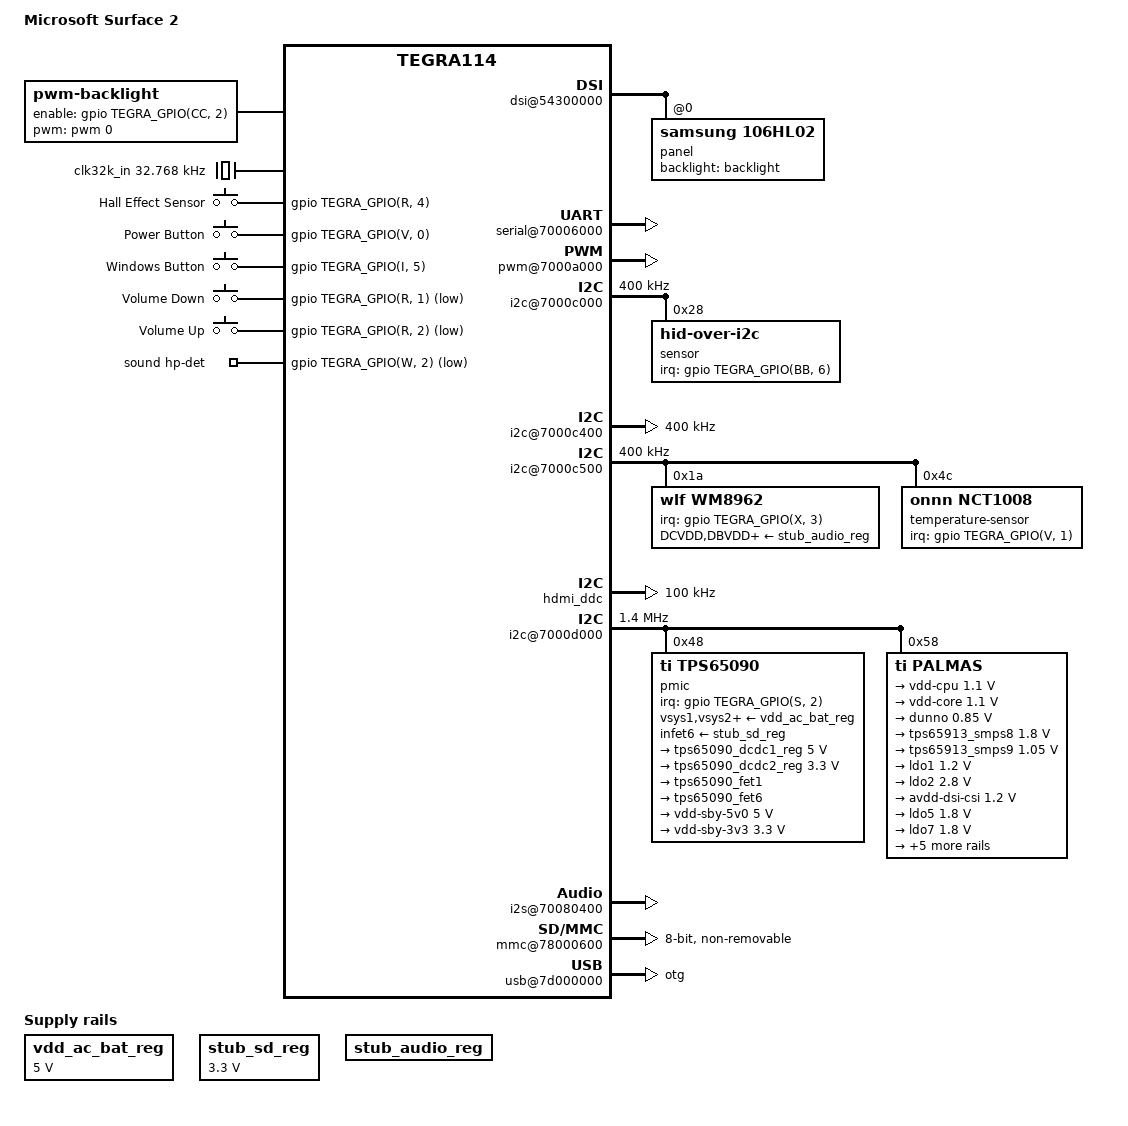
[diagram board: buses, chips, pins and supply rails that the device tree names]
// SPDX-License-Identifier: GPL-2.0

/dts-v1/;

#include "tegra114.dtsi"
#include <dt-bindings/input/input.h>

/ {
	model = "Microsoft Surface 2";
	compatible = "microsoft,surface-2", "nvidia,tegra114";

	aliases {
		mmc0 = &sdmmc4; /* eMMC */
		mmc1 = &sdmmc3; /* uSD slot */
		mmc2 = &sdmmc1; /* WiFi */

		rtc0 = &palmas;
		rtc1 = "/rtc@7000e000";

		serial0 = &uarta; /* console */
	};

	chosen {
		stdout-path = "serial0:115200n8";
	};

	host1x@50000000 {
		dsi@54300000 {
			status = "okay";

			//avdd-dsi-csi-supply = <&tps65913_ldo3>; // UEFI says no to this.

			panel@0 {
				compatible = "samsung,106hl02";
				reg = <0>;
				// FET4 doesn't control backlight but it is needed for the display to work??
				//power-supply = <&tps65090_fet4>; //tps65090_fet4
				backlight = <&backlight>;
				
				// Datasheet is not sure about reset pin and APX doesn't need it
				//reset-gpios = <&gpio TEGRA_GPIO(K, 5) GPIO_ACTIVE_HIGH>;
				// should make optional in driver
			};
		};
	};

	pinmux@70000868 {
		pinctrl-names = "default";
		pinctrl-0 = <&state_default>;

		state_default: pinmux {
			/* UART A RX ??? */
			sdmmc3_cmd_pa7 {
				nvidia,pins = "sdmmc3_cmd_pa7";
				nvidia,function = "uarta";
				nvidia,pull = <TEGRA_PIN_PULL_DOWN>;
				nvidia,tristate = <TEGRA_PIN_ENABLE>;
				nvidia,enable-input = <TEGRA_PIN_ENABLE>;
			};

			/* UART A TX */
			sdmmc3_dat1_pb6 {
				nvidia,pins = "sdmmc3_dat1_pb6";
				nvidia,function = "uarta";
				nvidia,pull = <TEGRA_PIN_PULL_NONE>;
				nvidia,tristate = <TEGRA_PIN_DISABLE>;
				nvidia,enable-input = <TEGRA_PIN_DISABLE>;
			};

			panel-backlight {
				nvidia,pins = "gmi_ad8_ph0";
				nvidia,function = "pwm0";
				nvidia,pull = <TEGRA_PIN_PULL_NONE>;
				nvidia,tristate = <TEGRA_PIN_DISABLE>;
				nvidia,enable-input = <TEGRA_PIN_DISABLE>;
			};
		};
	};

	serial@70006000 {
		status = "okay";
	};

	pwm@7000a000 {
		status = "okay";
	};

	i2c@7000c000 {
		status = "okay";
		clock-frequency = <400000>;

		/* Sensor Collection at 0x28 */
		sensor@28 {
			compatible = "hid-over-i2c";
			reg = <0x28>;
			hid-descr-addr = <0x0001>;
			interrupt-parent = <&gpio>;
			interrupts = <TEGRA_GPIO(BB, 6) IRQ_TYPE_LEVEL_LOW>;
		};
	};

	i2c@7000c400 {
		status = "okay";
		clock-frequency = <400000>;
	};

	i2c@7000c500 {
		status = "okay";
		clock-frequency = <400000>;

		wm8962: audio-codec@1a {
			compatible = "wlf,wm8962";
			reg = <0x1a>;
			interrupt-parent = <&gpio>;
			interrupts = <TEGRA_GPIO(X, 3) IRQ_TYPE_LEVEL_HIGH>;

			// stub reg to make dtbs_check happy
			DCVDD-supply = <&stub_audio_reg>;
			DBVDD-supply = <&stub_audio_reg>;
			AVDD-supply = <&stub_audio_reg>;
			CPVDD-supply = <&stub_audio_reg>;
			MICVDD-supply = <&stub_audio_reg>;
			PLLVDD-supply = <&stub_audio_reg>;
			SPKVDD1-supply = <&stub_audio_reg>;
			SPKVDD2-supply = <&stub_audio_reg>;
		};

		temperature-sensor@4c {
			compatible = "onnn,nct1008";
			reg = <0x4c>;
			interrupt-parent = <&gpio>;
			interrupts = <TEGRA_GPIO(V, 1) IRQ_TYPE_EDGE_FALLING>;
		};
	};

	hdmi_ddc: i2c@7000c700 {
		status = "okay";
		clock-frequency = <100000>;
	};

	i2c@7000d000 {
		status = "okay";
		clock-frequency = <1400000>;

		// Battery Charger, SMPS, LDOs, FETs
		pmic@48 {
			compatible = "ti,tps65090";
			reg = <0x48>;

			interrupt-parent = <&gpio>;
			interrupts = <TEGRA_GPIO(S, 2) IRQ_TYPE_LEVEL_HIGH>;

			vsys1-supply = <&vdd_ac_bat_reg>;
			vsys2-supply = <&vdd_ac_bat_reg>;
			vsys-l1-supply = <&vdd_ac_bat_reg>;
			vsys-l2-supply = <&vdd_ac_bat_reg>;
			
			infet6-supply = <&stub_sd_reg>;

			charger {
				compatible = "ti,tps65090-charger";
				ti,enable-low-current-chrg;
			};

			regulators {
				// DCDC Regulators should be always on.

				// UEFI has it disabled but external control is enabled
				// Fixed at 5V
				tps65090_dcdc1_reg: dcdc1 {
					regulator-name = "vdd-sys-5v0";
					regulator-min-microvolt = <5000000>;
					regulator-max-microvolt = <5000000>;
					ti,enable-ext-control;
				};

				// UEFI has it disabled but external control is enabled
				// Fixed at 3v3
				tps65090_dcdc2_reg: dcdc2 {
					regulator-name = "vdd-sys-3v3";
					regulator-min-microvolt = <3300000>;
					regulator-max-microvolt = <3300000>;
					ti,enable-ext-control;
				};

				// UEFI has it disabled but external control is enabled
				// variable voltage determined by external resistor				
				tps65090_dcdc3_reg: dcdc3 {
					ti,enable-ext-control;
				};

				// Connected to panel. Don't know how. Need few more tests
				// 1A / SystemVoltage
				tps65090_fet1: fet1 {
					regulator-name = "something-panel";
					regulator-always-on;
					regulator-boot-on;
				};

				// 200mA / 5V0
				// Enabled but not known
				// reverse-current protected for connections with external voltage: HDMI, USB
				tps65090_fet2: fet2 {
					regulator-always-on;
					regulator-boot-on;
				};

				// LDO3 modem on Dalmore. Maybe Surface 2 with modem?
				// 3A / 3v3

				// Connected to panel. Don't know how. Need few more tests
				// 1A / 3v3
				tps65090_fet4: fet4 {
					//regulator-name = "vdd-lcd";
					regulator-always-on;
					regulator-boot-on;
				};

				// No FET5 - crash boot - can't enable
				// UEFI says enable but PowerGood signal isn't present
				// Maybe missing input voltage?
				// 1A / 3v3

				// 1A / 3v3
				tps65090_fet6: fet6 {
					regulator-name = "vdd-sd-slot";
					regulator-always-on;
				};

				// FET7
				// 1A / 3v3

				// always on LDO; can be bypassed by DCDC1/2
				ldo1 {
					regulator-name = "vdd-sby-5v0";
					regulator-min-microvolt = <5000000>;
					regulator-max-microvolt = <5000000>;
					regulator-always-on;
					regulator-boot-on;
				};

				ldo2 {
					regulator-name = "vdd-sby-3v3";
					regulator-min-microvolt = <3300000>;
					regulator-max-microvolt = <3300000>;
					regulator-always-on;
					regulator-boot-on;
				};
			};
		};
		

		palmas: pmic@58 {
			compatible = "ti,palmas";
			reg = <0x58>;
			interrupts = <GIC_SPI 86 IRQ_TYPE_LEVEL_HIGH>;

			#interrupt-cells = <2>;
			interrupt-controller;

			ti,system-power-controller;
			ti,power-ctrl;

			palmas_gpio: gpio {
				compatible = "ti,palmas-gpio";
				gpio-controller;
				#gpio-cells = <2>;
			};

			palmas_clk32kgaudio@0 {
				compatible = "ti,palmas-clk32kgaudio";
				#clock-cells = <0>;
			};

			pmic {
				compatible = "ti,tps65913-pmic", "ti,palmas-pmic";

				ldo9-in-supply = <&stub_sd_reg>;

				ldousb-in-supply = <&stub_audio_reg>;

				regulators {
					smps123 {
						regulator-name = "vdd-cpu";
						regulator-min-microvolt = <1100000>;
						regulator-max-microvolt = <1100000>;
						regulator-always-on;
						regulator-boot-on;
						ti,roof-floor = <1>;
						ti,mode-sleep = <0>;
						regulator-ramp-delay = <2500>;
						ti,warm-reset;
					};

					smps457 {
						regulator-name = "vdd-core";
						regulator-min-microvolt = <1100000>;
						regulator-max-microvolt = <1100000>;
						regulator-always-on;
						regulator-boot-on;
						ti,roof-floor = <1>;
						ti,mode-sleep = <0>;
						regulator-ramp-delay = <5000>;
						ti,warm-reset;
					};

					// disabled in UEFI, could be used for something.
					smps6 {
						regulator-name = "dunno";
						regulator-min-microvolt = <850000>;
						regulator-max-microvolt = <850000>;
						ti,roof-floor = <1>;
						ti,mode-sleep = <0>;
						regulator-ramp-delay = <5000>;
						ti,warm-reset;
					};

					tps65913_smps8: smps8 {
						regulator-name = "vdd-1v8";
						regulator-min-microvolt = <1800000>;
						regulator-max-microvolt = <1800000>;
						regulator-always-on;
						regulator-boot-on;
						ti,roof-floor = <1>;
						ti,mode-sleep = <0>;
						regulator-ramp-delay = <5000>;
						ti,warm-reset;
					};

					tps65913_smps9: smps9 {
						regulator-name = "vdd-1v05";
						regulator-min-microvolt = <1050000>;
						regulator-max-microvolt = <1050000>;
						regulator-always-on;
						ti,warm-reset;
					};
					
					// No SMPS10 //
					
					ldo1 {
						regulator-min-microvolt = <1200000>;
						regulator-max-microvolt = <1200000>;
						regulator-always-on;
						regulator-boot-on;
					};
					
					ldo2 {
						regulator-min-microvolt = <2800000>;
						regulator-max-microvolt = <2800000>;
						regulator-always-on;
						regulator-boot-on;
					};
					
					ldo3 {
						regulator-name = "avdd-dsi-csi";
						regulator-min-microvolt = <1200000>;
						regulator-max-microvolt = <1200000>;
						regulator-always-on;
						regulator-boot-on;
					};

					// No LDO4 maybe 1.8V //
					
					ldo5 {
						regulator-min-microvolt = <1800000>;
						regulator-max-microvolt = <1800000>;
						regulator-always-on;
						regulator-boot-on;
					};
					
					// No LDO6 maybe 0.9V //
					
					ldo7 {
						regulator-min-microvolt = <1800000>;
						regulator-max-microvolt = <1800000>;
						regulator-always-on;
						regulator-boot-on;
					};
					
					ldo8 {
						regulator-name = "vdd-rtc";
						regulator-min-microvolt = <1200000>;
						regulator-max-microvolt = <1200000>;
						regulator-always-on;
						regulator-boot-on;
					};
					
					tps65913_ldo9: ldo9 {
						regulator-name = "vddio-sdmmc-2";
						regulator-min-microvolt = <1800000>;
						regulator-max-microvolt = <3300000>;
						regulator-always-on;
					};
					
					ldoln {
						regulator-min-microvolt = <1800000>;
						regulator-max-microvolt = <1800000>;
						regulator-always-on;
					};
					
					// reg 6A says this is connected to VBus. Not to sys
					ldousb {
						regulator-name = "avdd-usb";
						regulator-min-microvolt = <3300000>;
						regulator-max-microvolt = <3300000>;
						regulator-always-on;
						regulator-boot-on;
					};

					regen2 {
						regulator-max-microvolt = <5000000>;
						regulator-always-on;
						regulator-boot-on;
					};
					
					sysen1 {
						// enabled by UEFI. need to check again
					};
				};
			};

			rtc {
				compatible = "ti,palmas-rtc";
				interrupt-parent = <&palmas>;
				interrupts = <8 0>;
			};
		};
		
	};

	pmc@7000e400 {
		nvidia,invert-interrupt;
		nvidia,suspend-mode = <2>;
		nvidia,cpu-pwr-good-time = <300>;
		nvidia,cpu-pwr-off-time = <300>;
		nvidia,core-pwr-good-time = <641 3845>;
		nvidia,core-pwr-off-time = <2000>;
		nvidia,core-power-req-active-high;
		nvidia,sys-clock-req-active-high;

		/* Clear DEV_ON bit in DEV_CTRL register of TPS65913 PMIC  */
		i2c-thermtrip {
			nvidia,i2c-controller-id = <4>;
			nvidia,bus-addr = <0x58>;
			nvidia,reg-addr = <0xA0>;
			nvidia,reg-data = <0x00>;
		};
	};

	hda@70030000 {
		status = "okay";
	};

	ahub@70080000 {
		/* I2S1 -> audio-codec */
		i2s@70080400 {
			status = "okay";
		};
	};

	/* SD - SDMMC-3 */
	mmc@78000400 {
		status = "disabled"; // disable uart in UEFI stub
		bus-width = <4>;
		cd-gpios = <&gpio TEGRA_GPIO(V, 2) GPIO_ACTIVE_LOW>;
		// Need to recheck if SD works but UART is more important for now
		//vqmmc-supply = <&tps65913_ldo9>; // io voltage
		//vmmc-supply = <&tps65090_fet6>; // card power
	};

	/* eMMC - SDMMC-4 */
	mmc@78000600 {
		status = "okay";
		bus-width = <8>;
		non-removable;
	};

	usb@7d000000 {
		status = "okay";
		compatible = "nvidia,tegra114-udc";
		dr_mode = "otg";
	};

	usb-phy@7d000000 {
		status = "okay";
		/* TODO: vbus-supply */
		//vbus-supply = <&usb3_vbus_reg>;

	};

	backlight: backlight {
		compatible = "pwm-backlight";

		enable-gpios = <&gpio TEGRA_GPIO(CC, 2) GPIO_ACTIVE_HIGH>;
		//power-supply = <&tps65090_fet1>;
		pwms = <&pwm 0 100000>;

		brightness-levels = <1 255>;
		num-interpolated-steps = <254>;
		default-brightness-level = <128>;
	};

	clk32k_in: clock-32 {
		compatible = "fixed-clock";
		clock-frequency = <32768>;
		#clock-cells = <0>;
	};

	gpio-hall-sensor {
		compatible = "gpio-keys";

		label = "GPIO Hall Effect Sensor";

		hall-sensor {
			label = "Hall Effect Sensor";
			gpios = <&gpio TEGRA_GPIO(R, 4) GPIO_ACTIVE_HIGH>;
			linux,input-type = <EV_SW>;
			linux,code = <SW_LID>;
			linux,can-disable;
			wakeup-source;
		};
	};

	gpio-keys {
		compatible = "gpio-keys";

		label = "GPIO Buttons";

		power {
			label = "Power Button";
			gpios = <&gpio TEGRA_GPIO(V, 0) GPIO_ACTIVE_HIGH>;
			linux,code = <KEY_POWER>;
			debounce-interval = <10>;
			wakeup-source;
		};

		windows-button {
			label = "Windows Button";
			gpios = <&gpio TEGRA_GPIO(I, 5) GPIO_ACTIVE_HIGH>;
			linux,code = <KEY_LEFTMETA>;
			debounce-interval = <10>;
			wakeup-source;
		};

		volume-down {
			label = "Volume Down";
			gpios = <&gpio TEGRA_GPIO(R, 1) GPIO_ACTIVE_LOW>;
			linux,code = <KEY_VOLUMEDOWN>;
			debounce-interval = <10>;
		};

		volume-up {
			label = "Volume Up";
			gpios = <&gpio TEGRA_GPIO(R, 2) GPIO_ACTIVE_LOW>;
			linux,code = <KEY_VOLUMEUP>;
			debounce-interval = <10>;
		};
	};

	sound {
		compatible = "nvidia,tegra-audio-wm8962";
		nvidia,model = "NVIDIA Tegra Surface 2";

		nvidia,audio-routing =
			"Headphone Jack", "HPOUTR",
			"Headphone Jack", "HPOUTL",
			"Int Spk", "SPKOUTR",
			"Int Spk", "SPKOUTL";

		nvidia,i2s-controller = <&tegra_i2s1>;
		nvidia,audio-codec = <&wm8962>;

		nvidia,hp-det-gpios = <&gpio TEGRA_GPIO(W, 2) GPIO_ACTIVE_LOW>;

		clocks = <&tegra_car TEGRA114_CLK_PLL_A>,
			 <&tegra_car TEGRA114_CLK_PLL_A_OUT0>,
			 <&tegra_pmc TEGRA_PMC_CLK_OUT_1>;
		clock-names = "pll_a", "pll_a_out0", "mclk";

		assigned-clocks = <&tegra_car TEGRA114_CLK_EXTERN1>,
				  <&tegra_pmc TEGRA_PMC_CLK_OUT_1>;

		assigned-clock-parents = <&tegra_car TEGRA114_CLK_PLL_A_OUT0>,
					 <&tegra_car TEGRA114_CLK_EXTERN1>;
	};
	
	/* Regulators */
	vdd_ac_bat_reg: regulator-acbat {
		compatible = "regulator-fixed";
		regulator-name = "vdd_ac_bat";
		regulator-min-microvolt = <5000000>;
		regulator-max-microvolt = <5000000>;
		regulator-always-on;
	};
/*
	usb3_vbus_reg: regulator-usb3 {
		compatible = "regulator-fixed";
		regulator-name = "usb2_vbus";
		regulator-min-microvolt = <5000000>;
		regulator-max-microvolt = <5000000>;
		enable-active-high;
		gpio = <&gpio TEGRA_GPIO(K, 1) GPIO_ACTIVE_HIGH>;
		//regulator-enable-ramp-delay = <100000>; //offset of 0x4000 a 100ms
		//vin-supply = <&tps65090_dcdc1_reg>;
	};
*/
	stub_sd_reg: stub_sd {
		compatible = "regulator-fixed";
		regulator-name = "stub_sd";
		regulator-min-microvolt = <3300000>;
		regulator-max-microvolt = <3300000>;
	};

	stub_audio_reg: stub_audio {
		compatible = "regulator-fixed";
		regulator-name = "stub_audio";
	};

/*
	touchscreen_reg: touchscreen_vdd {
		compatible = "regulator-fixed";
		regulator-name = "touchscreen_vdd";
		enable-active-high;
		regulator-enable-ramp-delay = <70000>; // 70ms from ACPI
		gpio = <&gpio TEGRA_GPIO(K, 6) GPIO_ACTIVE_HIGH>;
		regulator-always-on;
	};
*/

/*
	what_ever_reg: what_ever {
		compatible = "regulator-fixed";
		regulator-name = "what";
		enable-active-high;
		regulator-enable-ramp-delay = <100000>; // 100ms from ACPI
		gpio = <&gpio TEGRA_GPIO(H, 2) GPIO_ACTIVE_HIGH>;
		regulator-always-on;
	};

	

	sensor_hub_reg: sensor_hub_vdd {
		compatible = "regulator-fixed";
		regulator-name = "sensor_hub_vdd";
		enable-active-high;
		regulator-enable-ramp-delay = <100000>; // 100ms from ACPI
		gpio = <&gpio TEGRA_GPIO(X, 6) GPIO_ACTIVE_HIGH>;
		regulator-always-on;
	};
*/
};
